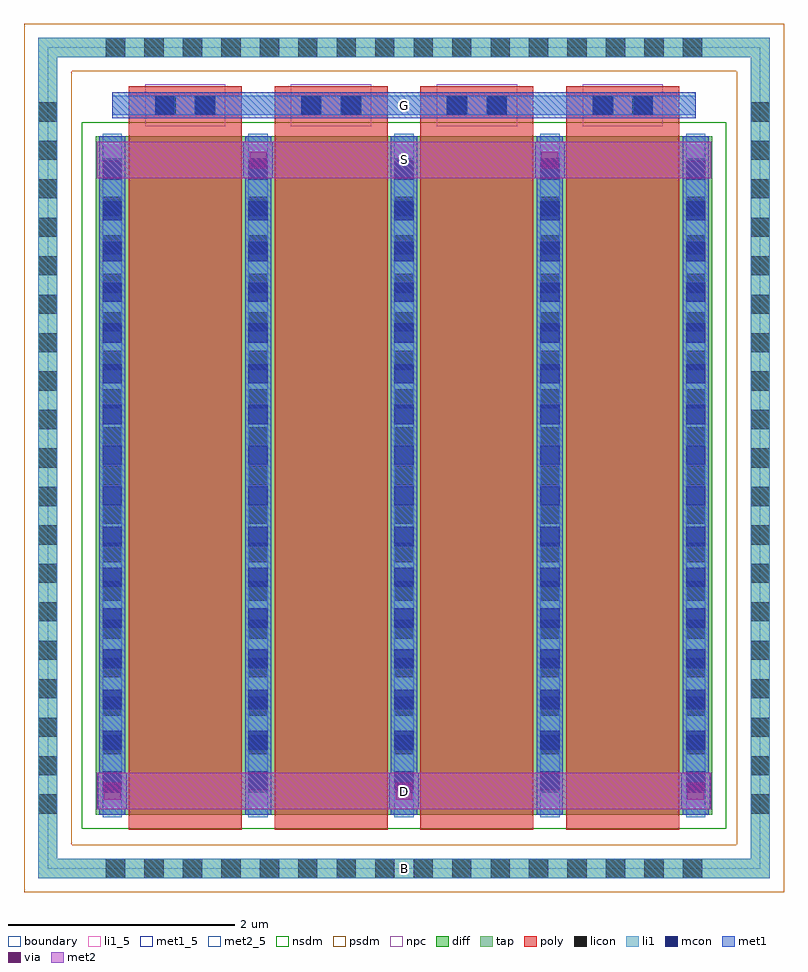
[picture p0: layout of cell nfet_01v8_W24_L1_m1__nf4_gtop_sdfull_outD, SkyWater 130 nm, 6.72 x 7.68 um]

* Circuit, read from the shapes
.subckt nfet_01v8_W24_L1_m1__nf4_gtop_sdfull_outD B D G S
XM1 S G D B sky130_fd_pr__nfet_01v8 w=6 l=1 m=4
.ends

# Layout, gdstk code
import gdstk
lib = gdstk.Library(unit=1e-6, precision=1e-09)
def R(c, l, rs):  # rectangles x0, y0, x1, y1
    for r in rs: c.add(gdstk.rectangle(r[:2], r[2:], *l))
def A(c, l, x, y, w, h, nx, ny, dx, dy):  # array of equal rectangles
    R(c, l, [(x+i*dx, y+j*dy, x+i*dx+w, y+j*dy+h) for i in range(nx) for j in range(ny)])
diff = (65, 20)
tap = (65, 44)
poly = (66, 20)
licon = (66, 44)
li1_5 = (67, 5)
li1 = (67, 20)
mcon = (67, 44)
met1_5 = (68, 5)
met1 = (68, 20)
via = (68, 44)
met2_5 = (69, 5)
met2 = (69, 20)
nsdm = (93, 44)
psdm = (94, 20)
npc = (95, 20)
boundary = (235, 4)

sky130_fd_pr__nfet_01v8_ = lib.new_cell('sky130_fd_pr__nfet_01v8_MEHFFH')
R(sky130_fd_pr__nfet_01v8_, diff, [(-2.725,-3.155,2.725,2.845)])
R(sky130_fd_pr__nfet_01v8_, tap, [(-3.235,-3.715,3.235,-3.545), (-3.235,-3.545,-3.065,3.545), (3.065,-3.545,3.235,3.545), (-3.235,3.545,3.235,3.715)])
A(sky130_fd_pr__nfet_01v8_, poly, -2.435, -3.285, 1, 6.57, 4, 1, 1.29, 0)
A(sky130_fd_pr__nfet_01v8_, licon, -2.635, -3.715, 0.17, 0.17, 16, 2, 0.34, 7.26)
A(sky130_fd_pr__nfet_01v8_, licon, -3.235, -3.145, 0.17, 0.17, 1, 19, 0, 0.34)
A(sky130_fd_pr__nfet_01v8_, licon, 3.065, -3.145, 0.17, 0.17, 1, 19, 0, 0.34)
A(sky130_fd_pr__nfet_01v8_, licon, -2.665, -2.96, 0.17, 0.17, 5, 17, 1.29, 0.34)
R(sky130_fd_pr__nfet_01v8_, licon, [(-2.19,3.035,-2.02,3.205), (-1.85,3.035,-1.68,3.205), (-0.9,3.035,-0.73,3.205), (-0.56,3.035,-0.39,3.205), (0.39,3.035,0.56,3.205), (0.73,3.035,0.9,3.205), (1.68,3.035,1.85,3.205), (2.02,3.035,2.19,3.205)])
A(sky130_fd_pr__nfet_01v8_, li1, -2.665, -3.175, 0.17, 6.04, 5, 1, 1.29, 0)
R(sky130_fd_pr__nfet_01v8_, li1, [(-3.235,-3.715,3.235,-3.545), (-3.235,-3.545,-3.065,3.545), (3.065,-3.545,3.235,3.545), (-2.58,3.035,2.58,3.205), (-3.235,3.545,3.235,3.715)])
A(sky130_fd_pr__nfet_01v8_, mcon, -2.665, -2.94, 0.17, 0.17, 5, 16, 1.29, 0.36)
R(sky130_fd_pr__nfet_01v8_, mcon, [(-2.2,3.035,-2.03,3.205), (-1.84,3.035,-1.67,3.205), (-0.91,3.035,-0.74,3.205), (-0.55,3.035,-0.38,3.205), (0.38,3.035,0.55,3.205), (0.74,3.035,0.91,3.205), (1.67,3.035,1.84,3.205), (2.03,3.035,2.2,3.205)])
A(sky130_fd_pr__nfet_01v8_, met1, -2.695, -3.155, 0.23, 6, 5, 1, 1.29, 0)
A(sky130_fd_pr__nfet_01v8_, met1, -2.415, 3.005, 0.96, 0.03, 4, 2, 1.29, 0.2)
R(sky130_fd_pr__nfet_01v8_, met1, [(-2.58,3.035,2.58,3.205)])
R(sky130_fd_pr__nfet_01v8_, nsdm, [(-2.85,-3.28,2.85,2.97)])
R(sky130_fd_pr__nfet_01v8_, psdm, [(-3.36,-3.84,3.36,-3.42), (-3.36,-3.42,-2.94,3.42), (2.94,-3.42,3.36,3.42), (-3.36,3.42,3.36,3.84)])
A(sky130_fd_pr__nfet_01v8_, npc, -2.29, 2.935, 0.71, 0.37, 4, 1, 1.29, 0)
R(sky130_fd_pr__nfet_01v8_, boundary, [(-3.15,-3.63,3.15,3.63)])
sky130_fd_pr__nfet_01v8_.add(gdstk.Label('B', (0,-3.63), layer=67, texttype=5))
sky130_fd_pr__nfet_01v8_.add(gdstk.Label('D0', (-2.58,-0.155), layer=67, texttype=5))
sky130_fd_pr__nfet_01v8_.add(gdstk.Label('G', (1.935,3.12), layer=67, texttype=5))
sky130_fd_pr__nfet_01v8_.add(gdstk.Label('G', (0.645,3.12), layer=67, texttype=5))
sky130_fd_pr__nfet_01v8_.add(gdstk.Label('G', (-0.645,3.12), layer=67, texttype=5))
sky130_fd_pr__nfet_01v8_.add(gdstk.Label('G', (-1.935,3.12), layer=67, texttype=5))
sky130_fd_pr__nfet_01v8_.add(gdstk.Label('S1', (-1.29,-0.155), layer=67, texttype=5))
sky130_fd_pr__nfet_01v8_.add(gdstk.Label('D2', (0,-0.155), layer=67, texttype=5))
sky130_fd_pr__nfet_01v8_.add(gdstk.Label('S3', (1.29,-0.155), layer=67, texttype=5))

nfet_01v8_w24_l1_m1__nf4 = lib.new_cell('nfet_01v8_W24_L1_m1__nf4_gtop_sdfull_outD')
R(nfet_01v8_w24_l1_m1__nf4, li1_5, [(3.065,-0.085,3.235,0.085)])
R(nfet_01v8_w24_l1_m1__nf4, li1, [(3.065,-0.085,3.235,0.085)])
R(nfet_01v8_w24_l1_m1__nf4, met1_5, [(0.57,6.635,5.73,6.865)])
A(nfet_01v8_w24_l1_m1__nf4, met1, 0.44, 0.525, 0.26, 0.32, 3, 1, 2.58, 0)
R(nfet_01v8_w24_l1_m1__nf4, met1, [(1.73,6.105,1.99,6.425), (4.31,6.105,4.57,6.425), (0.57,6.635,5.73,6.865)])
A(nfet_01v8_w24_l1_m1__nf4, via, 0.495, 0.61, 0.15, 0.15, 3, 1, 2.58, 0)
R(nfet_01v8_w24_l1_m1__nf4, via, [(1.785,6.19,1.935,6.34), (4.365,6.19,4.515,6.34)])
R(nfet_01v8_w24_l1_m1__nf4, met2_5, [(0.435,0.525,5.865,0.845), (0.435,6.105,5.865,6.425)])
R(nfet_01v8_w24_l1_m1__nf4, met2, [(0.435,0.525,5.865,0.845), (0.435,6.105,5.865,6.425)])
nfet_01v8_w24_l1_m1__nf4.add(gdstk.Reference(sky130_fd_pr__nfet_01v8_, (3.15,3.63)))
nfet_01v8_w24_l1_m1__nf4.add(gdstk.Label('S', (3.15,6.265), layer=69, texttype=5))
nfet_01v8_w24_l1_m1__nf4.add(gdstk.Label('D', (3.15,0.685), layer=69, texttype=5))
nfet_01v8_w24_l1_m1__nf4.add(gdstk.Label('G', (3.15,6.75), layer=68, texttype=5))
nfet_01v8_w24_l1_m1__nf4.add(gdstk.Label('B', (3.15,0), layer=67, texttype=5))

lib.write_gds('nfet_01v8_W24_L1_m1__nf4_gtop_sdfull_outD.gds')
